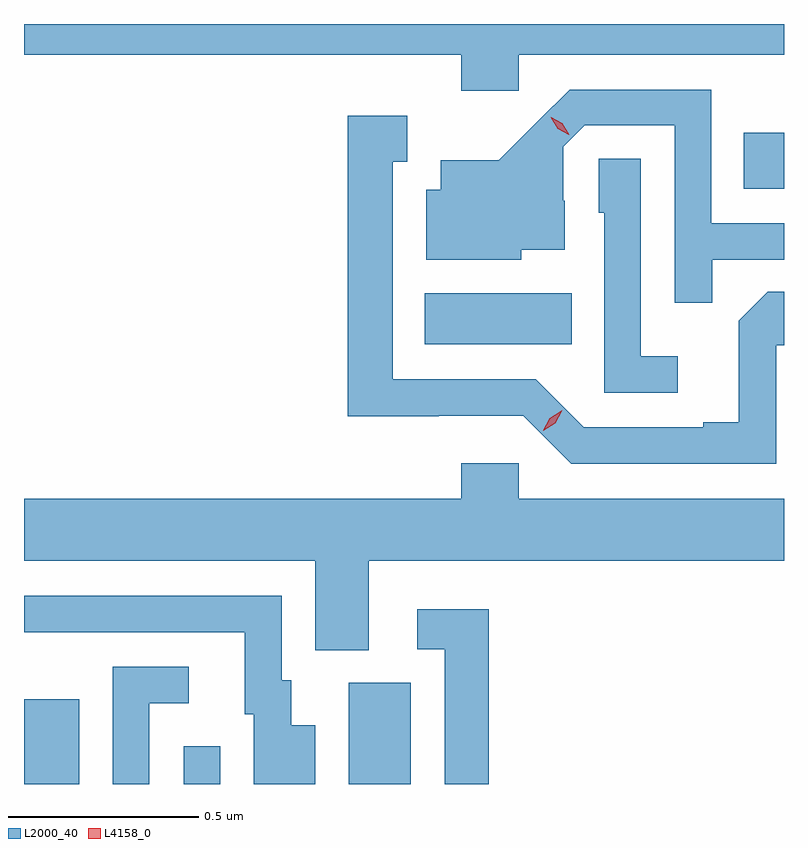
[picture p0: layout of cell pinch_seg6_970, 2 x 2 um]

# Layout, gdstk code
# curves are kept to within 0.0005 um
import gdstk
lib = gdstk.Library(unit=1e-6, precision=1e-09)
def R(c, l, rs):  # rectangles x0, y0, x1, y1
    for r in rs: c.add(gdstk.rectangle(r[:2], r[2:], *l))
def P(c, l, *ps):  # polygons
    for p in ps: c.add(gdstk.Polygon(p, *l))
L2000_40 = (2000, 40)
L4158_0 = (4158, 0)

pinch_seg6_970 = lib.new_cell('pinch_seg6_970')
R(pinch_seg6_970, L2000_40, [(336.336,922.773,336.481,922.996), (336.756,922.773,336.852,922.873), (337.19,922.773,337.354,923.04), (337.391,923.93,337.778,924.064), (338.23,924.339,338.336,924.487)])
P(pinch_seg6_970, L2000_40, [(337.638,924.692),(338.336,924.692),(338.336,924.773),(336.336,924.773),(336.336,924.692),(337.487,924.692),(337.487,924.597),(337.638,924.597)],
  [(338.147,924.153),(338.336,924.153),(338.336,924.249),(338.145,924.249),(338.145,924.6),(337.772,924.6),(337.585,924.415),(337.433,924.415),(337.433,924.337),(337.394,924.337),(337.394,924.152),(337.644,924.152),(337.644,924.179),(337.759,924.179),(337.759,924.308),(337.755,924.308),(337.755,924.45),(337.812,924.507),(338.049,924.507),(338.049,924.04),(338.147,924.04)],
  [(338.316,923.928),(338.336,923.928),(338.336,924.068),(338.293,924.068),(338.217,923.992),(338.217,923.725),(338.123,923.725),(338.123,923.712),(337.809,923.712),(337.683,923.838),(337.306,923.838),(337.306,924.411),(337.345,924.411),(337.345,924.532),(337.188,924.532),(337.188,923.741),(337.428,923.741),(337.428,923.742),(337.65,923.742),(337.776,923.616),(338.316,923.616)],
  [(338.056,923.899),(337.959,923.899),(337.959,924.419),(337.848,924.419),(337.848,924.276),(337.863,924.276),(337.863,923.802),(338.056,923.802)],
  [(337.243,923.36),(338.336,923.36),(338.336,923.524),(337.638,923.524),(337.638,923.617),(337.487,923.617),(337.487,923.524),(336.336,923.524),(336.336,923.36),(337.103,923.36),(337.103,923.125),(337.243,923.125)],
  [(337.102,922.927),(337.039,922.927),(337.039,923.046),(337.014,923.046),(337.014,923.268),(336.336,923.268),(336.336,923.172),(336.917,923.172),(336.917,922.956),(336.941,922.956),(336.941,922.773),(337.102,922.773)],
  [(337.559,923.233),(337.371,923.233),(337.371,923.127),(337.443,923.127),(337.443,922.773),(337.559,922.773)],
  [(336.666,922.986),(336.769,922.986),(336.769,923.082),(336.57,923.082),(336.57,922.773),(336.666,922.773)])
P(pinch_seg6_970, L4158_0, [(337.77,924.482),(337.74,924.497),(337.722,924.527),(337.722,924.527),(337.723,924.527),(337.753,924.512),(337.771,924.482),(337.771,924.482)],
  [(337.702,923.703),(337.702,923.704),(337.72,923.736),(337.752,923.756),(337.752,923.756),(337.752,923.756),(337.734,923.723),(337.703,923.703)])

lib.write_gds('pinch_seg6_970.gds')
